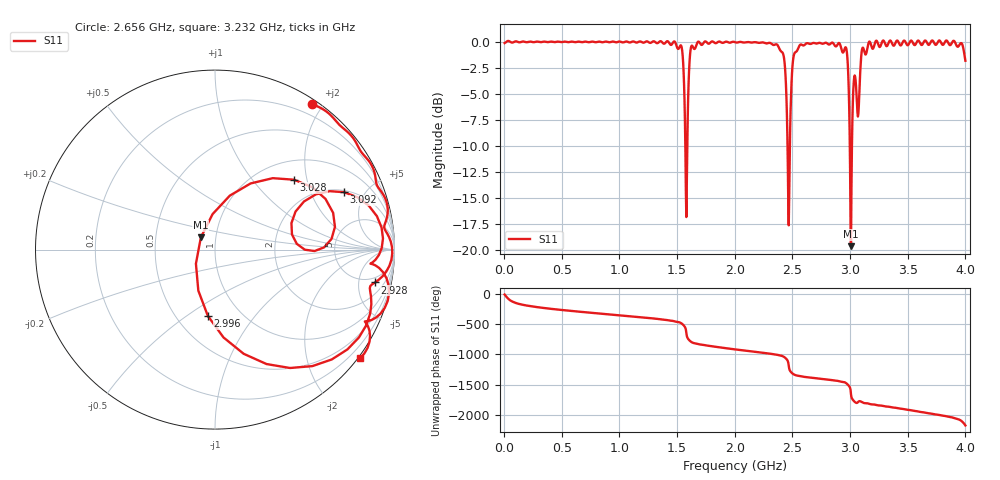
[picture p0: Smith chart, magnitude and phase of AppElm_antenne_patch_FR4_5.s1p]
! TOUCHSTONE file generated by CST MICROWAVE STUDIO
! Date and time: Tue Jun 14 13:15:13 2022
! Project name: AppElm_antenne_patch_FR4.cst
! Parameters = {L=45; W=58.5; e=0.035; h=1.6; lambda=0.190476; ls=120; w0=2.54; w1=0.847; ws=120; y0=17.1; y1=23.8}
! Header version: 2018
! Port assignment regex: !\s*Touchstone port\s*([0-9]+)\s*=\s*(CST MWS port|CST DS port)\s*([0-9]+|Zmin|Zmax)\s*\(\"(.*)\"\)(\s*mode\s*([0-9]+))?.*
! Touchstone port assignment:
! Touchstone port 1 = CST MWS port 1 ("")
# GHz S MA R 50
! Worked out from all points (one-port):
!   1000 points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, 4 MHz to 4 GHz, reference 50 ohm
!   lowest |S11| = -19.7 dB at 3.008 GHz (marker M1), VSWR 1.23, Z = 42.3 + j5.79 ohm
!   |S11| at or under -10 dB: 1.571 GHz to 1.588 GHz (16.83 MHz wide, 1.07 % of centre); 2.457 GHz to 2.478 GHz (20.59 MHz wide, 0.834 % of centre); 2.998 GHz to 3.016 GHz (18.63 MHz wide, 0.619 % of centre)
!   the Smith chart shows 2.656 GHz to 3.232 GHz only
!   S11 on the Smith chart (normalised r, x): 2.656 GHz: 0.05, +1.87; 2.928 GHz: 3.80, -8.06; 2.996 GHz: 0.71, -0.61; 3.028 GHz: 1.41, +1.67; 3.092 GHz: 2.10, +3.54; 3.232 GHz: -0.05, -3.00
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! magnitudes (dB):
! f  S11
! 4 MHz  -0.1
! 504 MHz  0.0
! 1.004 GHz  0.0
! 1.504 GHz  -0.6
! 1.54 GHz  -0.5
! 1.58 GHz  -16.9
! 1.592 GHz  -7.3
! 1.612 GHz  -1.2
! 1.632 GHz  -0.4
! 2.004 GHz  0.0
! 2.404 GHz  -0.9
! 2.432 GHz  -2.0
! 2.456 GHz  -9.0
! 2.468 GHz  -17.7
! 2.504 GHz  -1.9
! 2.656 GHz  -0.2
! 2.928 GHz  -0.8
! 2.972 GHz  -1.0
! 2.996 GHz  -8.6
! 3.004 GHz  -17.6
! 3.008 GHz  -19.7
! 3.028 GHz  -4.6
! 3.04 GHz  -3.2
! 3.068 GHz  -7.2
! 3.092 GHz  -2.1
! 3.232 GHz  0.1
! 3.504 GHz  -0.3
! 4 GHz  -1.8
